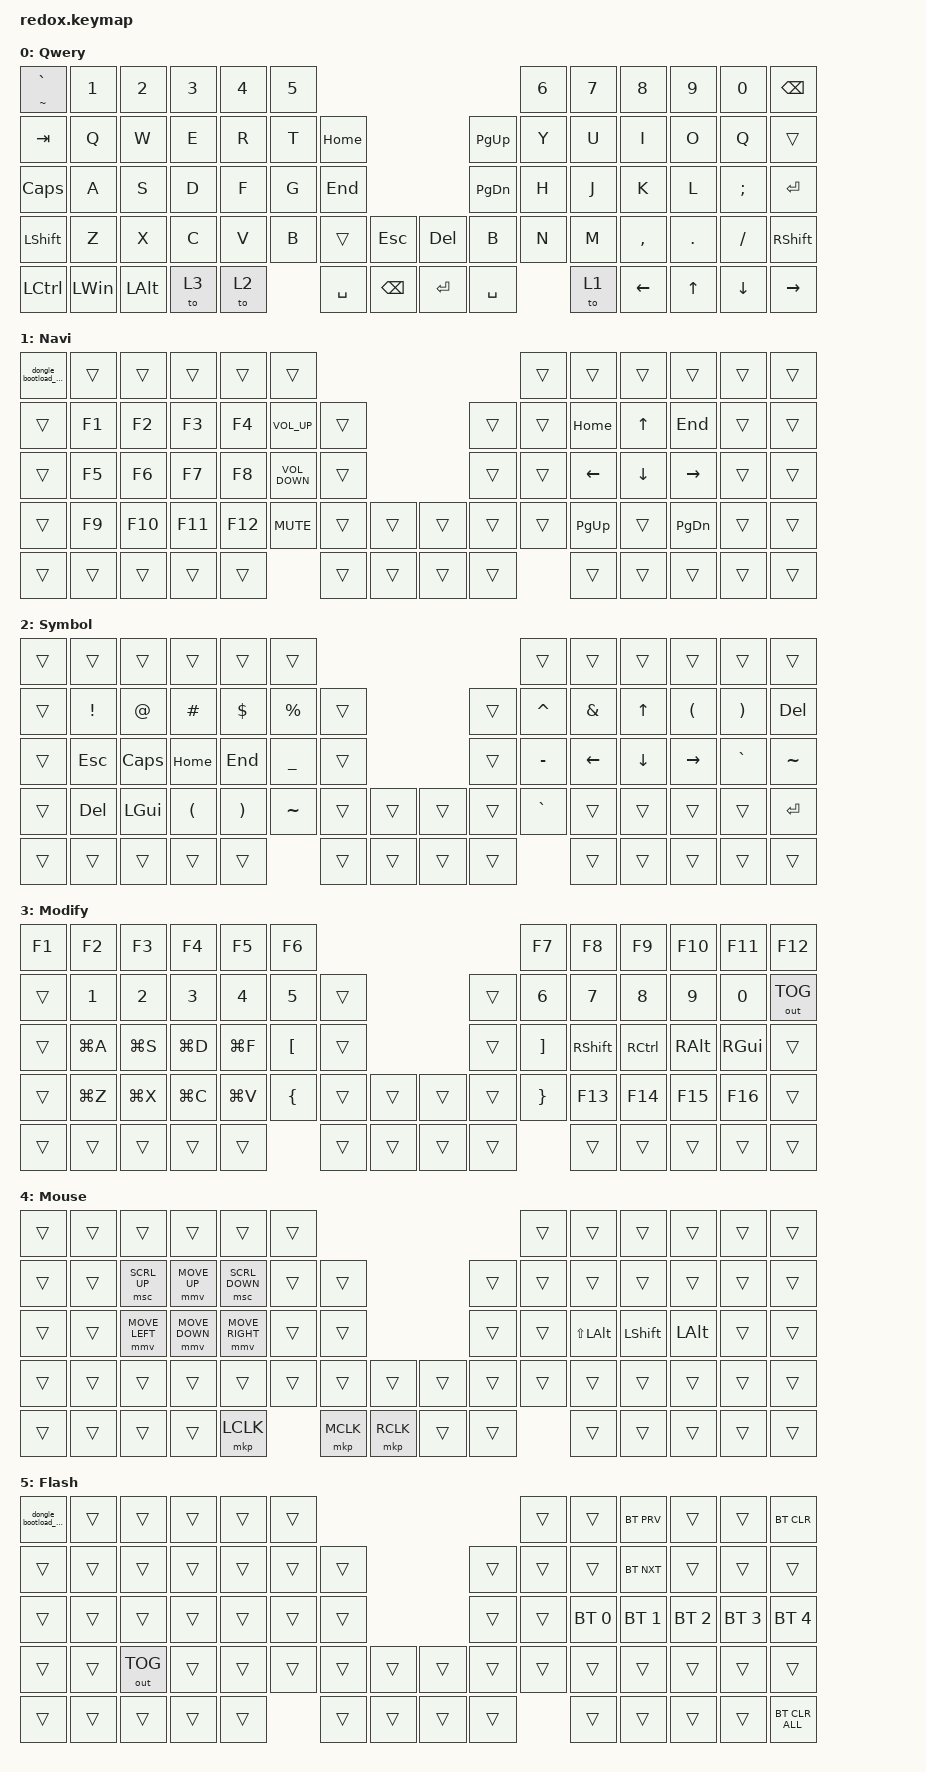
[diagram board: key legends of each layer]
/*
 * Copyright (c) 2021 The ZMK Contributors
 *
 * SPDX-License-Identifier: MIT
 */

#include <input/processors.dtsi>
#include <dt-bindings/zmk/mouse.h>
#include <behaviors.dtsi>
#include <dt-bindings/zmk/bt.h>
#include <dt-bindings/zmk/keys.h>
#include <dt-bindings/zmk/outputs.h>
#include <dt-bindings/zmk/pointing.h>

/ {
    combos {
        compatible = "zmk,combos";

        combo_esc {
            timeout-ms = <50>;
            key-positions = <13 14>;
            bindings = <&kp ESC>;
        };

        left_bkt {
            bindings = <&kp LEFT_BRACKET>;
            key-positions = <15 16>;
            timeout-ms = <50>;
        };

        right_bkt {
            bindings = <&kp RIGHT_BRACKET>;
            key-positions = <21 22>;
            timeout-ms = <50>;
        };

        left_par {
            bindings = <&kp LEFT_PARENTHESIS>;
            key-positions = <29 30>;
            timeout-ms = <50>;
        };

        right_par {
            bindings = <&kp RIGHT_PARENTHESIS>;
            key-positions = <35 36>;
            timeout-ms = <50>;
        };

        left_brace {
            bindings = <&kp LEFT_BRACE>;
            key-positions = <43 44>;
            timeout-ms = <50>;
        };

        right_brace {
            bindings = <&kp RIGHT_BRACE>;
            key-positions = <51 52>;
            timeout-ms = <50>;
        };

        bac {
            bindings = <&kp BACKSLASH>;
            key-positions = <16 21>;
            timeout-ms = <50>;
        };

        pipe {
            bindings = <&kp PIPE>;
            key-positions = <30 35>;
            timeout-ms = <50>;
        };

        plus {
            bindings = <&kp PLUS>;
            key-positions = <28 29>;
        };

        equal {
            bindings = <&kp EQUAL>;
            key-positions = <37 36>;
        };
    };

    macros {
        dongle_bootload_macro: bootload_macro {
            compatible = "zmk,behavior-macro";
            #binding-cells = <0>;
            bindings = <&bootloader>;
            label = "BOOTLOAD_MACRO";
        };
    };

    behaviors {
        hm: homerow_mods {
            compatible = "zmk,behavior-hold-tap";
            label = "HOMEROW_MODS";
            bindings = <&kp>, <&kp>;

            #binding-cells = <2>;
            tapping-term-ms = <200>;
            quick-tap-ms = <180>;
            flavor = "tap-preferred";
        };

        ltq: ltq {
            compatible = "zmk,behavior-hold-tap";
            label = "LTQ";
            bindings = <&mo>, <&kp>;

            #binding-cells = <2>;
            tapping-term-ms = <200>;
            quick-tap-ms = <180>;
        };

        as: auto_shift {
            compatible = "zmk,behavior-hold-tap";
            label = "AUTO_SHIFT";
            bindings = <&kp>, <&kp>;

            #binding-cells = <2>;
            tapping-term-ms = <135>;
            quick-tap-ms = <0>;
        };
    };

    keymap {
        compatible = "zmk,keymap";

        Qwery {
            // --------------------------------------------------------------------------------------------------------------------------------
            // |   `   |  1  |  2  |   3   |  4  |  5  |                   ---                 |  6    |  7    |  8    |  9   | 0  |    BKSP   |
            // | TAB   |  Q  |  W  |   E   |  R  |  T  |  HOME |           ---         | PG_UP |  Y    |  U    |  I    |  O   | P  |     -     |
            // | CTRL  |  A  |  S  |   D   |  F  |  G  |  END  |           ---         |PG_DOWN|  H    |  J    |  K    |  L   | ;  |     '     |
            // | SHIFT |  Z  |  X  |   C   |  V  |  B  |       |   ESC   | --- |  DEL  |   B   |  N    |  M    |  ,    |  .   | /  | SHFT(RET) |
            // | CRTL  | WIN | ALT |       |   LOWER   | LOWER | SPACE   | --- | ENTER | SPACE |     RAISE     | LEFT  | DOWN | UP |   RIGHT   |

            bindings = <
&as TILDE GRAVE  &kp N1        &kp N2        &kp N3  &kp N4  &kp N5                                                        &kp N6  &kp N7  &kp N8          &kp N9        &kp N0          &kp BSPC
&kp TAB          &kp Q         &kp W         &kp E   &kp R   &kp T   &kp HOME                               &kp PAGE_UP    &kp Y   &kp U   &kp I           &kp O         &kp Q           &trans
&kp CAPSLOCK     &kp A         &kp S         &kp D   &kp F   &kp G   &kp END                                &kp PAGE_DOWN  &kp H   &kp J   &kp K           &kp L         &kp SEMICOLON   &kp ENTER
&kp LEFT_SHIFT   &kp Z         &kp X         &kp C   &kp V   &kp B   &trans     &kp ESC          &kp DEL    &kp B          &kp N   &kp M   &kp COMMA       &kp PERIOD    &kp SLASH       &kp RSHFT
&kp LCTRL        &kp LEFT_WIN  &kp LEFT_ALT  &to 3   &to 2           &kp SPACE  &kp BACKSPACE    &kp ENTER  &kp SPACE              &to 1   &kp LEFT_ARROW  &kp UP_ARROW  &kp DOWN_ARROW  &kp RIGHT_ARROW
            >;

            label = "Qwery";
        };

        Navi {
            // --------------------------------------------------------------------------------------------------------------------------
            // | ESC   | F1  | F2  |  F3   |  F4   |     |                   ---              |     |     |   /  |  *   |  -  |  DEL  |
            // | ESC   | F5  | F6  |  F7   |  F8   |  5  |   (   |           ---        |  )  |  6  |  7  |   8  |  9   |  +  |  DEL  |
            // | CTRL  | F9  | F10 |  F11  |  F12  |  \  |   [   |           ---        |  ]  |  *  |  4  |   5  |  6   |     |   -   |
            // | SHIFT | ESC | GUI | COPY  | PASTE |     | PG_UP | PG_DOWN | --- | HOME | END |  \  |  1  |   2  |  3   |ENTER|  RET  |
            // | CRTL  | ALT | GUI | LOWER |     GUI     | LOWER | SPACE   | --- | DEL  |  0  |           |   0  |   .  |     | RIGHT |

            bindings = <
&dongle_bootload_macro  &trans  &trans   &trans   &trans   &trans                                               &trans  &trans          &trans          &trans           &trans  &trans
&trans                  &kp F1  &kp F2   &kp F3   &kp F4   &kp C_VOLUME_UP    &trans                    &trans  &trans  &kp HOME        &kp UP_ARROW    &kp END          &trans  &trans
&trans                  &kp F5  &kp F6   &kp F7   &kp F8   &kp C_VOLUME_DOWN  &trans                    &trans  &trans  &kp LEFT_ARROW  &kp DOWN_ARROW  &kp RIGHT_ARROW  &trans  &trans
&trans                  &kp F9  &kp F10  &kp F11  &kp F12  &kp K_MUTE         &trans  &trans    &trans  &trans  &trans  &kp PAGE_UP     &trans          &kp PAGE_DOWN    &trans  &trans
&trans                  &trans  &trans   &trans   &trans                      &trans  &trans    &trans  &trans          &trans          &trans          &trans           &trans  &trans
            >;

            label = "Navi";
        };

        Symbol {
            // ----------------------------------------------------------------------------------------------------------------------------
            // | ESC   |  1  |  2  |   3   |  4  |  5  |                   ---                |  6   |  7   |  8   |  9   |  0    |  DEL  |
            // | ESC   |  !  |  @  |   #   |  $  |  %  |   (   |           ---        |  )    |  ^   |  &   |  *   |  (   |  )    |  DEL  |
            // | CTRL  |  _  |  +  |   {   |  }  | "|" |   [   |           ---        |  ]    | HOME | PGUP | PRSC | UP   |  `    |   ~   |
            // | SHIFT | ESC | GUI |   (   |  )  |     | PG_UP | PG_DOWN | --- | HOME | END   | END  | PGDN | LEFT | DOWN | RIGHT |  RET  |
            // | CRTL  | ALT | GUI | LOWER |    GUI    | LOWER | SPACE   | --- | DEL  | SPACE |    RAISE    | LEFT | DOWN | UP    | RIGHT |

            bindings = <
&trans  &trans      &trans    &trans    &trans    &trans                                            &trans     &trans    &trans    &trans     &trans     &trans
&trans  &kp EXCL    &kp AT    &kp HASH  &kp DLLR  &kp PRCNT       &trans                    &trans  &kp CARET  &kp AMPS  &kp UP    &kp LPAR   &kp RPAR   &kp DEL
&trans  &kp ESCAPE  &kp CAPS  &kp HOME  &kp END   &kp UNDERSCORE  &trans                    &trans  &kp MINUS  &kp LEFT  &kp DOWN  &kp RIGHT  &kp GRAVE  &kp TILDE
&trans  &kp DELETE  &kp LGUI  &kp LPAR  &kp RPAR  &kp TILDE       &trans  &trans    &trans  &trans  &kp GRAVE  &trans    &trans    &trans     &trans     &kp RET
&trans  &trans      &trans    &trans    &trans                    &trans  &trans    &trans  &trans             &trans    &trans    &trans     &trans     &trans
            >;

            label = "Symbol";
        };

        Modify {
            // -----------------------------------------------------------------------------------------
            // |  F1   |  F2   |    F3    |    F4     |     F5     | F6 |                   ---                | F7  | F8  |  F9  |  F10 | F11 | F12        |
            // | TAB   |       |          |           |            |    | BOOTL |           ---        |  )    | BT1 | BT2 |  BT3 |  BT4 | BT5 | OUTPUT TGL |
            // | CTRL  | MUTE  |  Vol Dn  |  Vol Up   | Play/Pause |    | RESET |           ---        |  ]    | F1  | F2  |  F3  |  F4  | F5  | F6         |
            // | SHIFT | PSCRN |  PSCRN   |   CAPS    |            |    | PG_UP | PG_DOWN | --- | HOME | END   | F7  | F8  |  F9  |  F10 | F11 | F12        |
            // | CRTL  | ALT   |  GUI     |   LOWER   |      GUI        | LOWER | SPACE   | --- | DEL  | SPACE |   RAISE   | LEFT | DOWN | UP  |   RIGHT    |

            bindings = <
&kp F1  &kp F2     &kp F3     &kp F4     &kp F5     &kp F6                                              &kp F7             &kp F8           &kp F9             &kp F10        &kp F11        &kp F12
&trans  &kp N1     &kp N2     &kp N3     &kp N4     &kp N5            &trans                    &trans  &kp N6             &kp N7           &kp N8             &kp NUMBER_9   &kp N0         &out OUT_TOG
&trans  &kp LG(A)  &kp LG(S)  &kp LG(D)  &kp LG(F)  &kp LEFT_BRACKET  &trans                    &trans  &kp RIGHT_BRACKET  &kp RIGHT_SHIFT  &kp RIGHT_CONTROL  &kp RIGHT_ALT  &kp RIGHT_GUI  &trans
&trans  &kp LG(Z)  &kp LG(X)  &kp LG(C)  &kp LG(V)  &kp LEFT_BRACE    &trans  &trans    &trans  &trans  &kp RIGHT_BRACE    &kp F13          &kp F14            &kp F15        &kp F16        &trans
&trans  &trans     &trans     &trans     &trans                       &trans  &trans    &trans  &trans                     &trans           &trans             &trans         &trans         &trans
            >;

            label = "Modify";
        };

        Mouse {
            bindings = <
&trans  &trans  &trans          &trans          &trans           &trans                                          &trans  &trans            &trans          &trans        &trans  &trans
&trans  &trans  &msc SCRL_UP    &mmv MOVE_UP    &msc SCRL_DOWN   &trans  &trans                          &trans  &trans  &trans            &trans          &trans        &trans  &trans
&trans  &trans  &mmv MOVE_LEFT  &mmv MOVE_DOWN  &mmv MOVE_RIGHT  &trans  &trans                          &trans  &trans  &kp LS(LEFT_ALT)  &kp LEFT_SHIFT  &kp LEFT_ALT  &trans  &trans
&trans  &trans  &trans          &trans          &trans           &trans  &trans     &trans       &trans  &trans  &trans  &trans            &trans          &trans        &trans  &trans
&trans  &trans  &trans          &trans          &mkp LCLK                &mkp MCLK  &mkp RCLK    &trans  &trans          &trans            &trans          &trans        &trans  &trans
            >;

            label = "Mouse";
        };

        Flash {
            bindings = <
&dongle_bootload_macro  &trans  &trans        &trans  &trans  &trans                                    &trans  &trans        &bt BT_PRV    &trans        &trans        &bt BT_CLR
&trans                  &trans  &trans        &trans  &trans  &trans  &trans                    &trans  &trans  &trans        &bt BT_NXT    &trans        &trans        &trans
&trans                  &trans  &trans        &trans  &trans  &trans  &trans                    &trans  &trans  &bt BT_SEL 0  &bt BT_SEL 1  &bt BT_SEL 2  &bt BT_SEL 3  &bt BT_SEL 4
&trans                  &trans  &out OUT_TOG  &trans  &trans  &trans  &trans  &trans    &trans  &trans  &trans  &trans        &trans        &trans        &trans        &trans
&trans                  &trans  &trans        &trans  &trans          &trans  &trans    &trans  &trans          &trans        &trans        &trans        &trans        &bt BT_CLR_ALL
            >;

            label = "Flash";
        };
    };

    conditional_layers {
        compatible = "zmk,conditional-layers";

        to_flash {
            if-layers = <3 3>;
            then-layer = <5>;
        };
    };
};
